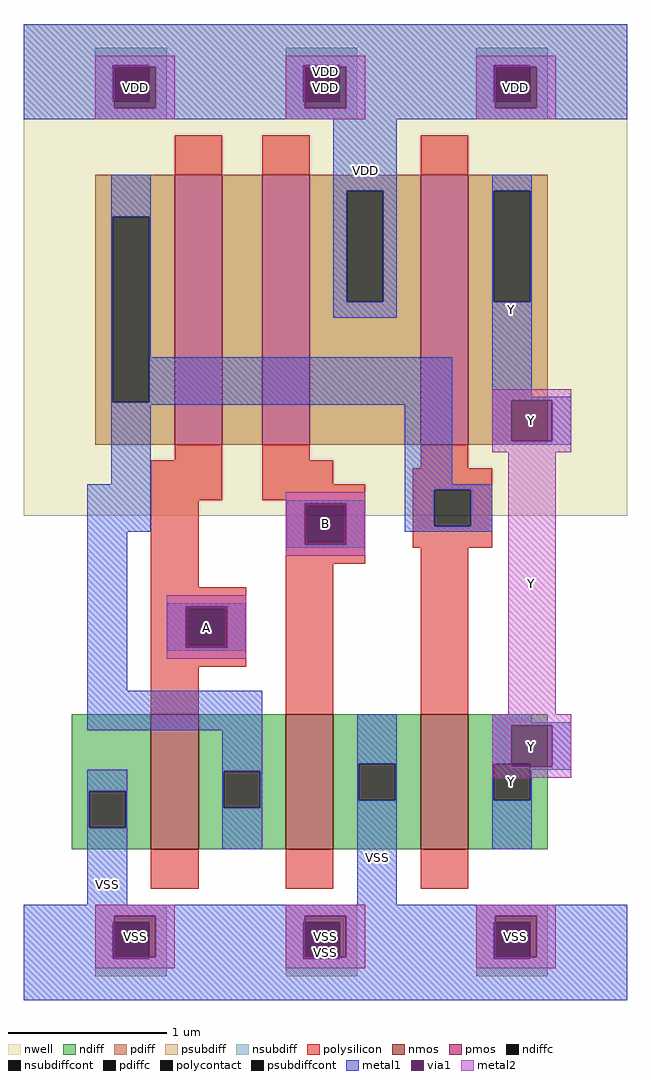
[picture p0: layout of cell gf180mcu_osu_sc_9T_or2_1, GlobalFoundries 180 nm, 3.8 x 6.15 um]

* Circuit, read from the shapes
.subckt gf180mcu_osu_sc_9T_or2_1 B A Y VDD VSS
XM1 n1 A VSS VSS nfet_03v3 w=0.85u l=0.3u
XM2 VSS B n1 VSS nfet_03v3 w=0.85u l=0.3u
XM3 Y n1 VSS VSS nfet_03v3 w=0.85u l=0.3u
XM4 n2 A n1 VDD pfet_03v3 w=1.7u l=0.3u
XM5 VDD B n2 VDD pfet_03v3 w=1.7u l=0.3u
XM6 Y n1 VDD VDD pfet_03v3 w=1.7u l=0.3u
.ends

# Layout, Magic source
magic
tech gf180mcuA
magscale 1 10
<< nwell >>
rect 0 610 760 1230
<< nmos >>
rect 160 190 220 360
rect 330 190 390 360
rect 500 190 560 360
<< pmos >>
rect 190 700 250 1040
rect 300 700 360 1040
rect 500 700 560 1040
<< ndiff >>
rect 60 263 160 360
rect 60 217 82 263
rect 128 217 160 263
rect 60 190 160 217
rect 220 288 330 360
rect 220 242 252 288
rect 298 242 330 288
rect 220 190 330 242
rect 390 298 500 360
rect 390 252 422 298
rect 468 252 500 298
rect 390 190 500 252
rect 560 298 660 360
rect 560 252 592 298
rect 638 252 660 298
rect 560 190 660 252
<< pdiff >>
rect 90 987 190 1040
rect 90 753 112 987
rect 158 753 190 987
rect 90 700 190 753
rect 250 700 300 1040
rect 360 1020 500 1040
rect 360 880 407 1020
rect 453 880 500 1020
rect 360 700 500 880
rect 560 1020 660 1040
rect 560 880 592 1020
rect 638 880 660 1020
rect 560 700 660 880
<< ndiffc >>
rect 82 217 128 263
rect 252 242 298 288
rect 422 252 468 298
rect 592 252 638 298
<< pdiffc >>
rect 112 753 158 987
rect 407 880 453 1020
rect 592 880 638 1020
<< psubdiff >>
rect 90 98 180 120
rect 90 52 112 98
rect 158 52 180 98
rect 90 30 180 52
rect 330 98 420 120
rect 330 52 352 98
rect 398 52 420 98
rect 330 30 420 52
rect 570 98 660 120
rect 570 52 592 98
rect 638 52 660 98
rect 570 30 660 52
<< nsubdiff >>
rect 90 1178 180 1200
rect 90 1132 112 1178
rect 158 1132 180 1178
rect 90 1110 180 1132
rect 330 1178 420 1200
rect 330 1132 352 1178
rect 398 1132 420 1178
rect 330 1110 420 1132
rect 570 1178 660 1200
rect 570 1132 592 1178
rect 638 1132 660 1178
rect 570 1110 660 1132
<< psubdiffcont >>
rect 112 52 158 98
rect 352 52 398 98
rect 592 52 638 98
<< nsubdiffcont >>
rect 112 1132 158 1178
rect 352 1132 398 1178
rect 592 1132 638 1178
<< polysilicon >>
rect 190 1040 250 1090
rect 300 1040 360 1090
rect 500 1040 560 1090
rect 190 680 250 700
rect 160 630 250 680
rect 300 680 360 700
rect 300 650 390 680
rect 500 670 560 700
rect 300 630 430 650
rect 160 520 220 630
rect 330 623 430 630
rect 330 577 357 623
rect 403 577 430 623
rect 330 550 430 577
rect 490 643 590 670
rect 490 597 517 643
rect 563 597 590 643
rect 490 570 590 597
rect 160 493 280 520
rect 160 447 207 493
rect 253 447 280 493
rect 160 420 280 447
rect 160 360 220 420
rect 330 360 390 550
rect 500 360 560 570
rect 160 140 220 190
rect 330 140 390 190
rect 500 140 560 190
<< polycontact >>
rect 357 577 403 623
rect 517 597 563 643
rect 207 447 253 493
<< metal1 >>
rect 0 1178 760 1230
rect 0 1132 112 1178
rect 158 1176 352 1178
rect 398 1176 592 1178
rect 638 1176 760 1178
rect 166 1132 352 1176
rect 406 1132 592 1176
rect 0 1124 114 1132
rect 166 1124 354 1132
rect 406 1124 594 1132
rect 646 1124 760 1176
rect 0 1110 760 1124
rect 110 987 160 1040
rect 110 753 112 987
rect 158 810 160 987
rect 390 1020 470 1110
rect 390 880 407 1020
rect 453 880 470 1020
rect 390 860 470 880
rect 590 1020 640 1040
rect 590 880 592 1020
rect 638 880 640 1020
rect 158 753 540 810
rect 110 750 540 753
rect 110 650 160 750
rect 80 590 160 650
rect 480 650 540 750
rect 590 760 640 880
rect 590 756 690 760
rect 590 704 614 756
rect 666 704 690 756
rect 590 700 690 704
rect 480 643 590 650
rect 330 626 430 630
rect 80 390 130 590
rect 330 574 354 626
rect 406 574 430 626
rect 480 597 517 643
rect 563 597 590 643
rect 480 590 590 597
rect 330 570 430 574
rect 180 496 280 500
rect 180 444 204 496
rect 256 444 280 496
rect 180 440 280 444
rect 80 340 300 390
rect 80 263 130 290
rect 80 217 82 263
rect 128 217 130 263
rect 80 120 130 217
rect 250 288 300 340
rect 250 242 252 288
rect 298 242 300 288
rect 250 190 300 242
rect 420 298 470 360
rect 420 252 422 298
rect 468 252 470 298
rect 420 120 470 252
rect 590 350 640 360
rect 590 346 690 350
rect 590 298 614 346
rect 590 252 592 298
rect 666 294 690 346
rect 638 290 690 294
rect 638 252 640 290
rect 590 190 640 252
rect 0 106 760 120
rect 0 98 114 106
rect 166 98 354 106
rect 406 98 594 106
rect 0 52 112 98
rect 166 54 352 98
rect 406 54 592 98
rect 646 54 760 106
rect 158 52 352 54
rect 398 52 592 54
rect 638 52 760 54
rect 0 0 760 52
<< via1 >>
rect 114 1132 158 1176
rect 158 1132 166 1176
rect 354 1132 398 1176
rect 398 1132 406 1176
rect 594 1132 638 1176
rect 638 1132 646 1176
rect 114 1124 166 1132
rect 354 1124 406 1132
rect 594 1124 646 1132
rect 614 704 666 756
rect 354 623 406 626
rect 354 577 357 623
rect 357 577 403 623
rect 403 577 406 623
rect 354 574 406 577
rect 204 493 256 496
rect 204 447 207 493
rect 207 447 253 493
rect 253 447 256 493
rect 204 444 256 447
rect 614 298 666 346
rect 614 294 638 298
rect 638 294 666 298
rect 114 98 166 106
rect 354 98 406 106
rect 594 98 646 106
rect 114 54 158 98
rect 158 54 166 98
rect 354 54 398 98
rect 398 54 406 98
rect 594 54 638 98
rect 638 54 646 98
<< metal2 >>
rect 90 1176 190 1190
rect 90 1124 114 1176
rect 166 1124 190 1176
rect 90 1110 190 1124
rect 330 1176 430 1190
rect 330 1124 354 1176
rect 406 1124 430 1176
rect 330 1110 430 1124
rect 570 1176 670 1190
rect 570 1124 594 1176
rect 646 1124 670 1176
rect 570 1110 670 1124
rect 590 756 690 770
rect 590 704 614 756
rect 666 704 690 756
rect 590 690 690 704
rect 330 626 430 640
rect 330 574 354 626
rect 406 574 430 626
rect 330 560 430 574
rect 180 496 280 510
rect 180 444 204 496
rect 256 444 280 496
rect 180 430 280 444
rect 610 360 670 690
rect 590 346 690 360
rect 590 294 614 346
rect 666 294 690 346
rect 590 280 690 294
rect 90 106 190 120
rect 90 54 114 106
rect 166 54 190 106
rect 90 40 190 54
rect 330 106 430 120
rect 330 54 354 106
rect 406 54 430 106
rect 330 40 430 54
rect 570 106 670 120
rect 570 54 594 106
rect 646 54 670 106
rect 570 40 670 54
<< labels >>
rlabel metal2 s 90 1110 190 1190 4 VDD
port 8 nsew power bidirectional abutment
rlabel metal2 s 90 40 190 120 4 VSS
port 9 nsew ground bidirectional
rlabel metal2 s 330 560 430 640 4 B
port 1 nsew signal input
rlabel metal2 s 180 430 280 510 4 A
port 2 nsew signal input
rlabel metal2 s 610 280 670 770 4 Y
port 3 nsew signal output
rlabel metal1 s 180 440 280 500 1 A
port 2 nsew signal input
rlabel metal1 s 330 570 430 630 1 B
port 1 nsew signal input
rlabel metal2 s 330 1110 430 1190 1 VDD
port 8 nsew power bidirectional abutment
rlabel metal2 s 570 1110 670 1190 1 VDD
port 8 nsew power bidirectional abutment
rlabel metal1 s 390 860 470 1230 1 VDD
port 8 nsew power bidirectional abutment
rlabel metal1 s 0 1110 760 1230 1 VDD
port 8 nsew power bidirectional abutment
rlabel metal2 s 330 40 430 120 1 VSS
port 9 nsew ground bidirectional
rlabel metal2 s 570 40 670 120 1 VSS
port 9 nsew ground bidirectional
rlabel metal1 s 80 0 130 290 1 VSS
port 9 nsew ground bidirectional
rlabel metal1 s 420 0 470 360 1 VSS
port 9 nsew ground bidirectional
rlabel metal1 s 0 0 760 120 1 VSS
port 9 nsew ground bidirectional
rlabel metal2 s 590 280 690 360 1 Y
port 3 nsew signal output
rlabel metal2 s 590 690 690 770 1 Y
port 3 nsew signal output
rlabel metal1 s 590 700 640 1040 1 Y
port 3 nsew signal output
rlabel metal1 s 590 700 690 760 1 Y
port 3 nsew signal output
rlabel metal1 s 590 190 640 360 1 Y
port 3 nsew signal output
rlabel metal1 s 590 290 690 350 1 Y
port 3 nsew signal output
<< properties >>
string FIXED_BBOX 0 0 760 1230
string GDS_END 438728
string GDS_FILE $PDKPATH/libs.ref/gf180mcu_osu_sc_9T/gds/gf180mcu_osu_sc_9T.gds
string GDS_START 432194
string LEFclass CORE
string LEFsite GF018hv5v_mcu_sc7
string LEFsymmetry X Y
<< end >>
